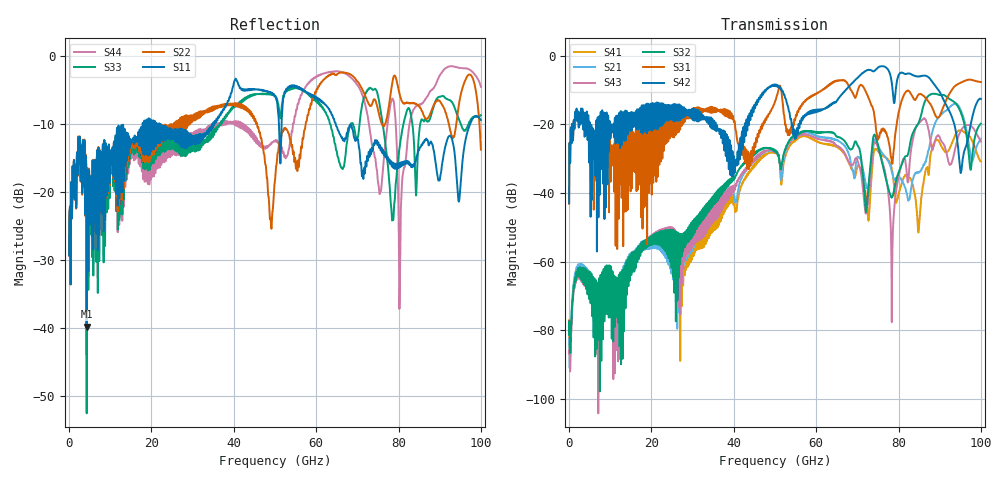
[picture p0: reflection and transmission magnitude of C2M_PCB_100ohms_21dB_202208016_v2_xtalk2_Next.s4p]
! Info: Touchstone file created by Circ.  Input file=Intel_C2M_200G_8p0in_202208016_staggered.circ
# Hz S RI R 50
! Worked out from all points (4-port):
!   10000 points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, 10 MHz to 100 GHz, reference 50 ohm
!   strongest paths, dB at 10 MHz, 25.01 GHz, 50.01 GHz, 75.01 GHz, 100 GHz:
!     S42: -42.9, -15.0, -8.3, -3.4, -12.6
!     S31: -43.2, -17.7, -13.3, -24.3, -7.7
!     S32: -81.4, -51.3, -27.8, -26.1, -19.8
!     S43: -85.7, -50.3, -28.0, -26.8, -25.0
!     S21: -82.5, -52.1, -28.0, -26.0, -24.2
!     S41: -84.8, -51.8, -28.3, -27.8, -30.8
!   lowest |S11| = -39.8 dB at 4.29 GHz (marker M1), VSWR 1.02, Z = 50.5 - j0.885 ohm
!   |S11| at or under -10 dB: start of sweep to 17.86 GHz; 22.26 GHz to 34.95 GHz (12.69 GHz wide, 44.4 % of centre); 64.77 GHz to 97.4 GHz (32.63 GHz wide, 40.2 % of centre)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
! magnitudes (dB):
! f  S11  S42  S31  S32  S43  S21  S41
! 10 MHz  -29.3  -42.9  -43.2  -81.4  -85.7  -82.5  -84.8
! 4.29 GHz  -39.8  -16.3  -17.8  -62.4  -64.9  -62.0  -64.0
! 56.47 GHz  -4.9  -18.1  -14.5  -22.2  -22.9  -22.3  -23.3
! 74.57 GHz  -12.7  -3.9  -21.9  -24.0  -25.5  -24.8  -27.3
! 78.41 GHz  -16.2  -8.3  -31.2  -41.3  -65.9  -34.1  -33.4
! 85.05 GHz  -13.7  -6.0  -11.1  -19.0  -19.5  -34.0  -48.4
! 100 GHz  -9.4  -12.6  -7.7  -19.8  -25.0  -24.2  -30.8
